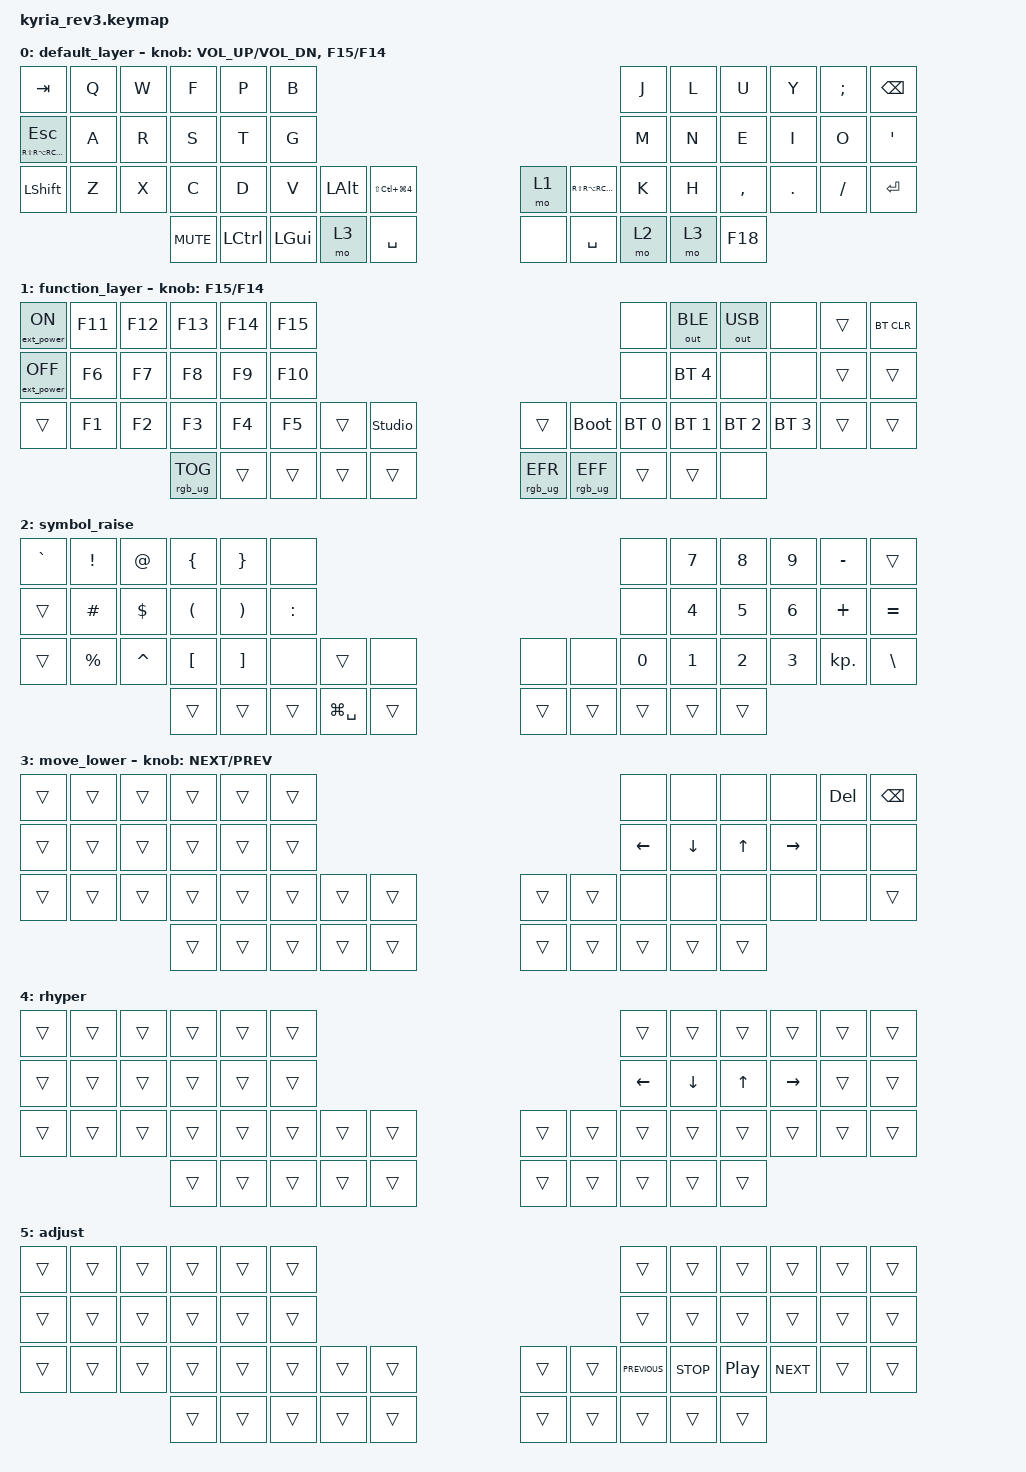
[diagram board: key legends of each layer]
/*
 * Copyright (c) 2023 The ZMK Contributors
 *
 * SPDX-License-Identifier: MIT
 */

#include <behaviors.dtsi>
#include <dt-bindings/zmk/bt.h>
#include <dt-bindings/zmk/ext_power.h>
#include <dt-bindings/zmk/keys.h>
#include <dt-bindings/zmk/outputs.h>
#include <dt-bindings/zmk/rgb.h>

&led_strip {
    chain-length = <31>; // Uncomment if using both per-key and underglow LEDs
};

&sensors { triggers-per-rotation = <30>; };

#define DEFAULT 0
#define FUNCTION 1
#define RAISE 2

/ {
    macros {
        // Source: https://zmk.dev/docs/behaviors/macros
        /**
        * Temporarily switches to a layer (`&mo`) while a modifier is held.
        * Analogous to QMK's `LM()`, using a parameterized macro.
        *
        * Params:
        *  1. Layer to switch to
        *  2. Modifier to press while layer is active
        *
        * Example:
        *  `&lm NUM_LAYER LSHIFT`
        */

        lm: lm {
            compatible = "zmk,behavior-macro-two-param";
            wait-ms = <0>;
            tap-ms = <0>;
            #binding-cells = <2>;
            bindings =
                <&macro_param_1to1>,
                <&macro_press>,
                <&mo MACRO_PLACEHOLDER &macro_param_2to1>,
                <&macro_press>,
                <&kp MACRO_PLACEHOLDER>,
                <&macro_pause_for_release>,
                <&macro_param_2to1>,
                <&macro_release>,
                <&kp MACRO_PLACEHOLDER &macro_param_1to1>,
                <&macro_release>,
                <&mo MACRO_PLACEHOLDER>;
        };

        rhyper_macro: rhyper_layer {
            compatible = "zmk,behavior-macro";
            #binding-cells = <0>;
            bindings = <&lm 4 RS(RA(RC(RCMD)))>;
            label = "RHYPER_LAYER";
        };
    };

    behaviors {
        rhyper_behavior: rhyper_behavior {
            compatible = "zmk,behavior-hold-tap";
            label = "RHYPER_BEHAVIOR";
            bindings = <&rhyper_macro>, <&kp>;

            #binding-cells = <2>;
            tapping-term-ms = <200>;
        };

        rgb_encoder: rgb_encoder {
            compatible = "zmk,behavior-sensor-rotate";
            label = "RGB_ENCODER";
            #sensor-binding-cells = <0>;
            bindings = <&rgb_ug RGB_EFF>, <&rgb_ug RGB_EFR>;
        };

        lt_hp: lt_hp {
            compatible = "zmk,behavior-hold-tap";
            label = "LT_HP";
            bindings = <&mo>, <&kp>;

            #binding-cells = <2>;
            tapping-term-ms = <150>;
            flavor = "balanced";
        };
    };

    keymap {
        compatible = "zmk,keymap";

        default_layer {
            bindings = <
&kp TAB                   &kp Q  &kp W  &kp F       &kp P      &kp B                                                                             &kp J  &kp L  &kp U      &kp Y    &kp SEMI  &kp BSPC
&mt RS(RA(RC(RCMD))) ESC  &kp A  &kp R  &kp S       &kp T      &kp G                                                                             &kp M  &kp N  &kp E      &kp I    &kp O     &kp SQT
&kp LSHFT                 &kp Z  &kp X  &kp C       &kp D      &kp V     &kp LEFT_ALT  &kp LS(LC(LG(NUMBER_4)))  &mo 1  &kp RS(RA(RC(RG(F13))))  &kp K  &kp H  &kp COMMA  &kp DOT  &kp FSLH  &kp RET
                                        &kp C_MUTE  &kp LCTRL  &kp LGUI  &mo 3         &kp SPACE                 &none  &kp SPACE                &mo 2  &mo 3  &kp F18
            >;

            sensor-bindings =
                <&inc_dec_kp C_VOL_UP C_VOL_DN>,
                <&inc_dec_kp F15 F14>;
        };

        function_layer {
            bindings = <
&ext_power EP_ON   &kp F11  &kp F12  &kp F13          &kp F14  &kp F15                                                            &none         &out OUT_BLE  &out OUT_USB  &none         &trans  &bt BT_CLR
&ext_power EP_OFF  &kp F6   &kp F7   &kp F8           &kp F9   &kp F10                                                            &none         &bt BT_SEL 4  &none         &none         &trans  &trans
&trans             &kp F1   &kp F2   &kp F3           &kp F4   &kp F5   &trans  &studio_unlock  &trans           &bootloader      &bt BT_SEL 0  &bt BT_SEL 1  &bt BT_SEL 2  &bt BT_SEL 3  &trans  &trans
                                     &rgb_ug RGB_TOG  &trans   &trans   &trans  &trans          &rgb_ug RGB_EFR  &rgb_ug RGB_EFF  &trans        &trans        &none
            >;

            sensor-bindings = <&inc_dec_kp F15 F14>;
        };

        symbol_raise {
            bindings = <
&kp GRAVE  &kp EXCL     &kp AT     &kp LBRC  &kp RBRC  &none                                             &none   &kp N7  &kp N8  &kp N9  &kp MINUS   &trans
&trans     &kp HASH     &kp DLLR   &kp LPAR  &kp RPAR  &kp COLON                                         &none   &kp N4  &kp N5  &kp N6  &kp PLUS    &kp EQUAL
&trans     &kp PERCENT  &kp CARET  &kp LBKT  &kp RBKT  &none      &trans         &none   &none   &none   &kp N0  &kp N1  &kp N2  &kp N3  &kp KP_DOT  &kp BSLH
                                   &trans    &trans    &trans     &kp LG(SPACE)  &trans  &trans  &trans  &trans  &trans  &trans
            >;
        };

        move_lower {
            bindings = <
&trans  &trans  &trans  &trans  &trans  &trans                                  &none     &none     &none   &none      &kp DEL  &kp BSPC
&trans  &trans  &trans  &trans  &trans  &trans                                  &kp LEFT  &kp DOWN  &kp UP  &kp RIGHT  &none    &none
&trans  &trans  &trans  &trans  &trans  &trans  &trans  &trans  &trans  &trans  &none     &none     &none   &none      &none    &trans
                        &trans  &trans  &trans  &trans  &trans  &trans  &trans  &trans    &trans    &trans
            >;

            sensor-bindings = <&inc_dec_kp C_NEXT C_PREV>;
        };

        rhyper {
            bindings = <
&trans  &trans  &trans  &trans  &trans  &trans                                  &trans    &trans    &trans  &trans     &trans  &trans
&trans  &trans  &trans  &trans  &trans  &trans                                  &kp LEFT  &kp DOWN  &kp UP  &kp RIGHT  &trans  &trans
&trans  &trans  &trans  &trans  &trans  &trans  &trans  &trans  &trans  &trans  &trans    &trans    &trans  &trans     &trans  &trans
                        &trans  &trans  &trans  &trans  &trans  &trans  &trans  &trans    &trans    &trans
            >;
        };

        adjust {
            bindings = <
&trans  &trans  &trans  &trans  &trans  &trans                                  &trans          &trans      &trans            &trans      &trans  &trans
&trans  &trans  &trans  &trans  &trans  &trans                                  &trans          &trans      &trans            &trans      &trans  &trans
&trans  &trans  &trans  &trans  &trans  &trans  &trans  &trans  &trans  &trans  &kp C_PREVIOUS  &kp C_STOP  &kp C_PLAY_PAUSE  &kp C_NEXT  &trans  &trans
                        &trans  &trans  &trans  &trans  &trans  &trans  &trans  &trans          &trans      &trans
            >;
        };

        extra1 {
            status = "reserved";
        };

        extra2 {
            status = "reserved";
        };

        extra3 {
            status = "reserved";
        };
    };

    conditional_layers {
        compatible = "zmk,conditional-layers";

        Adjust {
            if-layers = <2 3>;
            then-layer = <5>;
        };
    };
};
